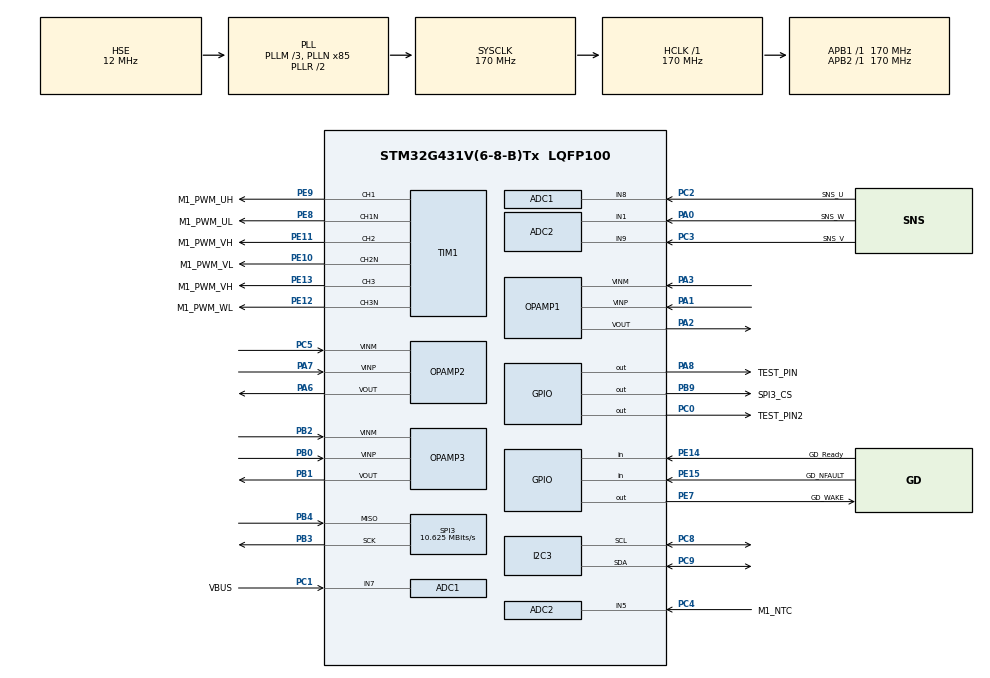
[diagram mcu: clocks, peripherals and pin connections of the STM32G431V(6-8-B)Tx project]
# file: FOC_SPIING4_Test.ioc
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ADC1.ClockPrescaler=ADC_CLOCK_ASYNC_DIV4
ADC1.EOCSelection=ADC_EOC_SEQ_CONV
ADC1.EnableInjectedConversion=ENABLE
ADC1.EnableRegularConversion=DISABLE
ADC1.ExternalTrigInjecConv=ADC_EXTERNALTRIGINJEC_T1_TRGO
ADC1.InjNumberOfConversion=4
ADC1.InjectedChannel-1\#ChannelInjectedConversion=ADC_CHANNEL_3
ADC1.InjectedChannel-2\#ChannelInjectedConversion=ADC_CHANNEL_7
ADC1.InjectedChannel-3\#ChannelInjectedConversion=ADC_CHANNEL_12
ADC1.InjectedChannel-4\#ChannelInjectedConversion=ADC_CHANNEL_8
ADC1.InjectedOffsetNumber-1\#ChannelInjectedConversion=ADC_OFFSET_NONE
ADC1.InjectedOffsetNumber-2\#ChannelInjectedConversion=ADC_OFFSET_NONE
ADC1.InjectedOffsetNumber-3\#ChannelInjectedConversion=ADC_OFFSET_NONE
ADC1.InjectedOffsetNumber-4\#ChannelInjectedConversion=ADC_OFFSET_NONE
ADC1.InjectedRank-1\#ChannelInjectedConversion=1
ADC1.InjectedRank-2\#ChannelInjectedConversion=2
ADC1.InjectedRank-3\#ChannelInjectedConversion=3
ADC1.InjectedRank-4\#ChannelInjectedConversion=4
ADC1.InjectedSamplingTime-1\#ChannelInjectedConversion=ADC_SAMPLETIME_6CYCLES_5
ADC1.InjectedSamplingTime-2\#ChannelInjectedConversion=ADC_SAMPLETIME_24CYCLES_5
ADC1.InjectedSamplingTime-3\#ChannelInjectedConversion=ADC_SAMPLETIME_24CYCLES_5
ADC1.InjectedSamplingTime-4\#ChannelInjectedConversion=ADC_SAMPLETIME_24CYCLES_5
ADC1.Rank1_Channel=ADC_CHANNEL_3
ADC1.Rank2_Channel=ADC_CHANNEL_7
ADC1.Rank3_Channel=ADC_CHANNEL_12
ADC1.Rank4_Channel=ADC_CHANNEL_8
ADC1.master=1
ADC2.ClockPrescaler=ADC_CLOCK_ASYNC_DIV4
ADC2.EOCSelection=ADC_EOC_SEQ_CONV
ADC2.EnableInjectedConversion=ENABLE
ADC2.EnableRegularConversion=DISABLE
ADC2.ExternalTrigInjecConv=ADC_EXTERNALTRIGINJEC_T1_TRGO
ADC2.InjNumberOfConversion=4
ADC2.InjectedChannel-1\#ChannelInjectedConversion=ADC_CHANNEL_3
ADC2.InjectedChannel-2\#ChannelInjectedConversion=ADC_CHANNEL_1
ADC2.InjectedChannel-3\#ChannelInjectedConversion=ADC_CHANNEL_5
ADC2.InjectedChannel-4\#ChannelInjectedConversion=ADC_CHANNEL_9
ADC2.InjectedOffsetNumber-1\#ChannelInjectedConversion=ADC_OFFSET_NONE
ADC2.InjectedOffsetNumber-2\#ChannelInjectedConversion=ADC_OFFSET_NONE
ADC2.InjectedOffsetNumber-3\#ChannelInjectedConversion=ADC_OFFSET_NONE
ADC2.InjectedOffsetNumber-4\#ChannelInjectedConversion=ADC_OFFSET_NONE
ADC2.InjectedRank-1\#ChannelInjectedConversion=1
ADC2.InjectedRank-2\#ChannelInjectedConversion=2
ADC2.InjectedRank-3\#ChannelInjectedConversion=3
ADC2.InjectedRank-4\#ChannelInjectedConversion=4
ADC2.InjectedSamplingTime-1\#ChannelInjectedConversion=ADC_SAMPLETIME_6CYCLES_5
ADC2.InjectedSamplingTime-2\#ChannelInjectedConversion=ADC_SAMPLETIME_24CYCLES_5
ADC2.InjectedSamplingTime-3\#ChannelInjectedConversion=ADC_SAMPLETIME_24CYCLES_5
ADC2.InjectedSamplingTime-4\#ChannelInjectedConversion=ADC_SAMPLETIME_24CYCLES_5
ADC2.Rank1_Channel=ADC_CHANNEL_3
ADC2.Rank2_Channel=ADC_CHANNEL_1
ADC2.Rank3_Channel=ADC_CHANNEL_5
ADC2.Rank4_Channel=ADC_CHANNEL_9
FREERTOS.Tasks01=DebugTask,0,128,App_DebugTask,As weak,NULL,Dynamic,NULL,NULL
I2C3.I2C_Fall_Time=0
I2C3.I2C_Rise_Time=0
I2C3.Timing=0x30A0A7FB
Mcu.Family=STM32G4
Mcu.Name=STM32G431V(6-8-B)Tx
Mcu.Package=LQFP100
Mcu.UserConstants=PWM_PERIOD_CYCLES,8500;TIM_CLOCK_DIVIDER,1;REP_COUNTER,1;DEAD_TIME_COUNTS,170
NVIC.ADC1_2_IRQn=true\:5\:0\:false\:true\:true\:2\:true\:true\:true\:true
NVIC.PriorityGroup=NVIC_PRIORITYGROUP_4
NVIC.TIM1_UP_TIM16_IRQn=true\:5\:0\:false\:true\:true\:1\:true\:true\:true\:true
NVIC.TIM2_IRQn=true\:15\:0\:false\:false\:true\:false\:false\:true\:true
NVIC.TimeBase=TIM2_IRQn
NVIC.TimeBaseIP=TIM2
PA0.GPIO_Label=SNS_W
PA0.Mode=IN1-Single-Ended
PA0.Signal=ADC2_IN1
PA1.Mode=Standalone
PA1.Signal=OPAMP1_VINP
PA13.Mode=Serial_Wire
PA13.Signal=SYS_JTMS-SWDIO
PA14.Mode=Serial_Wire
PA14.Signal=SYS_JTCK-SWCLK
PA2.Signal=SharedAnalog_PA2
PA3.Mode=Standalone
PA3.Signal=OPAMP1_VINM
PA6.Signal=SharedAnalog_PA6
PA7.Mode=Standalone
PA7.Signal=OPAMP2_VINP
PA8.GPIO_Label=TEST_PIN
PA8.GPIO_Speed=GPIO_SPEED_FREQ_VERY_HIGH
PA8.Signal=GPIO_Output
PB0.Mode=Standalone
PB0.Signal=OPAMP3_VINP
PB1.Signal=SharedAnalog_PB1
PB2.Mode=Standalone
PB2.Signal=OPAMP3_VINM
PB3.GPIO_Speed=GPIO_SPEED_FREQ_VERY_HIGH
PB3.Mode=RX_Only_Simplex_Unidirect_Master
PB3.Signal=SPI3_SCK
PB4.GPIO_Speed=GPIO_SPEED_FREQ_VERY_HIGH
PB4.Mode=RX_Only_Simplex_Unidirect_Master
PB4.Signal=SPI3_MISO
PB5.Signal=SPI3_MOSI
PB9.GPIO_FM9=SYSCFG_FASTMODEPLUS_PB9
PB9.GPIO_Label=SPI3_CS
PB9.GPIO_PuPd=GPIO_PULLUP
PB9.GPIO_Speed=GPIO_SPEED_FREQ_VERY_HIGH
PB9.PinState=GPIO_PIN_SET
PB9.Signal=GPIO_Output
PC0.GPIO_Label=TEST_PIN2
PC0.GPIO_Speed=GPIO_SPEED_FREQ_VERY_HIGH
PC0.Signal=GPIO_Output
PC1.GPIO_Label=VBUS
PC1.Mode=IN7-Single-Ended
PC1.Signal=ADC1_IN7
PC2.GPIO_Label=SNS_U
PC2.Mode=IN8-Single-Ended
PC2.Signal=ADC1_IN8
PC3.GPIO_Label=SNS_V
PC3.Mode=IN9-Single-Ended
PC3.Signal=ADC2_IN9
PC4.GPIO_Label=M1_NTC
PC4.Mode=IN5-Single-Ended
PC4.Signal=ADC2_IN5
PC5.Mode=Standalone
PC5.Signal=OPAMP2_VINM
PC8.Mode=I2C
PC8.Signal=I2C3_SCL
PC9.Mode=I2C
PC9.Signal=I2C3_SDA
PE10.GPIO_Label=M1_PWM_VL
PE10.GPIO_PuPd=GPIO_PULLDOWN
PE10.GPIO_Speed=GPIO_SPEED_FREQ_HIGH
PE10.Mode=PWM Generation2 CH2 CH2N
PE10.Signal=TIM1_CH2N
PE11.GPIO_Label=M1_PWM_VH
PE11.GPIO_PuPd=GPIO_PULLDOWN
PE11.GPIO_Speed=GPIO_SPEED_FREQ_HIGH
PE11.Signal=S_TIM1_CH2
PE12.GPIO_Label=M1_PWM_WL
PE12.GPIO_PuPd=GPIO_PULLDOWN
PE12.GPIO_Speed=GPIO_SPEED_FREQ_HIGH
PE12.Mode=PWM Generation3 CH3 CH3N
PE12.Signal=TIM1_CH3N
PE13.GPIO_Label=M1_PWM_VH
PE13.GPIO_PuPd=GPIO_PULLDOWN
PE13.GPIO_Speed=GPIO_SPEED_FREQ_HIGH
PE13.Signal=S_TIM1_CH3
PE14.GPIO_Label=GD_Ready
PE14.Signal=GPIO_Input
PE15.GPIO_Label=GD_NFAULT
PE15.Signal=GPIO_Input
PE7.GPIO_Label=GD_WAKE
PE7.Signal=GPIO_Output
PE8.GPIO_Label=M1_PWM_UL
PE8.GPIO_PuPd=GPIO_PULLDOWN
PE8.GPIO_Speed=GPIO_SPEED_FREQ_HIGH
PE8.Mode=PWM Generation1 CH1 CH1N
PE8.Signal=TIM1_CH1N
PE9.GPIO_Label=M1_PWM_UH
PE9.GPIO_PuPd=GPIO_PULLDOWN
PE9.GPIO_Speed=GPIO_SPEED_FREQ_HIGH
PE9.Signal=S_TIM1_CH1
PF0-OSC_IN.Mode=HSE-External-Oscillator
PF0-OSC_IN.Signal=RCC_OSC_IN
PF1-OSC_OUT.Mode=HSE-External-Oscillator
PF1-OSC_OUT.Signal=RCC_OSC_OUT
ProjectManager.HeapSize=0x200
ProjectManager.StackSize=0x400
ProjectManager.TargetToolchain=CMake
RCC.ADC12Freq_Value=170000000
RCC.AHBFreq_Value=170000000
RCC.APB1Freq_Value=170000000
RCC.APB1TimFreq_Value=170000000
RCC.APB2Freq_Value=170000000
RCC.APB2TimFreq_Value=170000000
RCC.CortexFreq_Value=170000000
RCC.EXTERNAL_CLOCK_VALUE=12288000
RCC.HCLKFreq_Value=170000000
RCC.HSE_VALUE=12000000
RCC.HSI48_VALUE=48000000
RCC.HSI_VALUE=16000000
RCC.LSE_VALUE=32768
RCC.PLLM=RCC_PLLM_DIV3
RCC.PLLN=85
RCC.PLLSourceVirtual=RCC_PLLSOURCE_HSE
RCC.SYSCLKFreq_VALUE=170000000
RCC.SYSCLKSource=RCC_SYSCLKSOURCE_PLLCLK
RCC.USBFreq_Value=170000000
RCC.VCOOutputFreq_Value=340000000
SH.S_TIM1_CH1.0=TIM1_CH1,PWM Generation1 CH1 CH1N
SH.S_TIM1_CH2.0=TIM1_CH2,PWM Generation2 CH2 CH2N
SH.S_TIM1_CH3.0=TIM1_CH3,PWM Generation3 CH3 CH3N
SH.SharedAnalog_PA2.0=OPAMP1_VOUT,Standalone
SH.SharedAnalog_PA2.1=ADC1_IN3,IN3-Single-Ended
SH.SharedAnalog_PA6.0=OPAMP2_VOUT,Standalone
SH.SharedAnalog_PA6.1=ADC2_IN3,IN3-Single-Ended
SH.SharedAnalog_PB1.0=OPAMP3_VOUT,Standalone
SH.SharedAnalog_PB1.1=ADC1_IN12,IN12-Single-Ended
SPI3.BaudRatePrescaler=SPI_BAUDRATEPRESCALER_16
SPI3.CLKPhase=SPI_PHASE_2EDGE
SPI3.CalculateBaudRate=10.625 MBits/s
SPI3.DataSize=SPI_DATASIZE_8BIT
SPI3.Direction=SPI_DIRECTION_2LINES_RXONLY
SPI3.Mode=SPI_MODE_MASTER
SPI3.VirtualType=VM_MASTER
TIM1.Channel-PWM\ Generation1\ CH1\ CH1N=TIM_CHANNEL_1
TIM1.Channel-PWM\ Generation2\ CH2\ CH2N=TIM_CHANNEL_2
TIM1.Channel-PWM\ Generation3\ CH3\ CH3N=TIM_CHANNEL_3
TIM1.Channel-PWM\ Generation4\ No\ Output=TIM_CHANNEL_4
TIM1.ClockDivision=TIM_CLOCKDIVISION_DIV2
TIM1.CounterMode=TIM_COUNTERMODE_CENTERALIGNED1
TIM1.DeadTime=((DEAD_TIME_COUNTS) / 2)
TIM1.OCFastMode_PWM-PWM\ Generation3\ CH3\ CH3N=TIM_OCFAST_DISABLE
TIM1.OCFastMode_PWM-PWM\ Generation4\ No\ Output=TIM_OCFAST_ENABLE
TIM1.OCMode_PWM-PWM\ Generation1\ CH1\ CH1N=TIM_OCMODE_PWM2
TIM1.OCMode_PWM-PWM\ Generation2\ CH2\ CH2N=TIM_OCMODE_PWM2
TIM1.OCMode_PWM-PWM\ Generation3\ CH3\ CH3N=TIM_OCMODE_PWM2
TIM1.OffStateIDLEMode=TIM_OSSI_ENABLE
TIM1.OffStateRunMode=TIM_OSSR_ENABLE
TIM1.PeriodNoDither=((PWM_PERIOD_CYCLES)/2)
TIM1.Prescaler=((TIM_CLOCK_DIVIDER) - 1)
TIM1.PulseNoDither_4=1
TIM1.RepetitionCounter=REP_COUNTER
TIM1.TIM_MasterOutputTrigger=TIM_TRGO_OC4REF
VP_FREERTOS_VS_CMSIS_V1.Mode=CMSIS_V1
VP_SYS_VS_DBSignals.Mode=DisableDeadBatterySignals
VP_SYS_VS_tim2.Mode=TIM2
VP_SYS_V_VREFBUF.Mode=ExternalMode
VP_TIM1_VS_ClockSourceINT.Mode=Internal
VP_TIM1_VS_no_output4.Mode=PWM Generation4 No Output
board=custom

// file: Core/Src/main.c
/* USER CODE BEGIN Header */
/**
  ******************************************************************************
  * @file           : main.c
  * @brief          : Main program body
  ******************************************************************************
  * @attention
  *
  * Copyright (c) 2026 STMicroelectronics.
  * All rights reserved.
  *
  * This software is licensed under terms that can be found in the LICENSE file
  * in the root directory of this software component.
  * If no LICENSE file comes with this software, it is provided AS-IS.
  *
  ******************************************************************************
  */
/* USER CODE END Header */
#include "main.h"
#include "cmsis_os.h"
#include "adc.h"
#include "i2c.h"
#include "opamp.h"
#include "spi.h"
#include "tim.h"
#include "gpio.h"

/* USER CODE BEGIN Includes */
#include "foc_struct.h"
/* USER CODE END Includes */

void SystemClock_Config(void);
void MX_FREERTOS_Init(void);
static void MX_NVIC_Init(void);

/* USER CODE BEGIN 0 */
extern FOC_Driver_t tFocDrv;

void FocInit() {
  HAL_TIM_Base_Start_IT(&htim1);
  HAL_TIM_Base_Start(&htim1);

  // PWM Init
  HAL_TIM_PWM_Start(&htim1, TIM_CHANNEL_1);
  HAL_TIMEx_PWMN_Start(&htim1, TIM_CHANNEL_1);
  HAL_TIM_PWM_Start(&htim1, TIM_CHANNEL_2);
  HAL_TIMEx_PWMN_Start(&htim1, TIM_CHANNEL_2);
  HAL_TIM_PWM_Start(&htim1, TIM_CHANNEL_3);
  HAL_TIMEx_PWMN_Start(&htim1, TIM_CHANNEL_3);

  // ADC Init
  HAL_ADCEx_Calibration_Start(&hadc1, ADC_SINGLE_ENDED);
  HAL_ADCEx_Calibration_Start(&hadc2, ADC_SINGLE_ENDED);
  HAL_ADCEx_InjectedStart_IT(&hadc1);
  HAL_ADCEx_InjectedStart_IT(&hadc2);

  // OPAMP Init
  HAL_OPAMP_Start(&hopamp1);
  HAL_OPAMP_Start(&hopamp2);
  HAL_OPAMP_Start(&hopamp3);

  // Init FOC StateMachine
  tFocDrv.tAppState.tEvent = E_RESET;
  tFocDrv.tAppState.tStatus = S_RESET;
  tFocDrv.fAngle = 0.f;
}
/* USER CODE END 0 */

int main(void)
{

  /* MCU Configuration--------------------------------------------------------*/

  /* Reset of all peripherals, Initializes the Flash interface and the Systick. */
  HAL_Init();

  /* Configure the system clock */
  SystemClock_Config();

  /* Initialize all configured peripherals */
  MX_GPIO_Init();
  MX_ADC1_Init();
  MX_ADC2_Init();
  MX_I2C3_Init();
  MX_OPAMP1_Init();
  MX_OPAMP2_Init();
  MX_OPAMP3_Init();
  MX_SPI3_Init();
  MX_TIM1_Init();

  /* Initialize interrupts */
  MX_NVIC_Init();
  /* USER CODE BEGIN 2 */
  FocInit();
  /* USER CODE END 2 */

  /* Call init function for freertos objects (in cmsis_os2.c) */
  MX_FREERTOS_Init();

  /* Start scheduler */
  osKernelStart();

  /* We should never get here as control is now taken by the scheduler */

  /* Infinite loop */
  while (1)
  {

  }
}

void SystemClock_Config(void)
{
  RCC_OscInitTypeDef RCC_OscInitStruct = {0};
  RCC_ClkInitTypeDef RCC_ClkInitStruct = {0};

  /** Configure the main internal regulator output voltage
  */
  HAL_PWREx_ControlVoltageScaling(PWR_REGULATOR_VOLTAGE_SCALE1_BOOST);

  /** Initializes the RCC Oscillators according to the specified parameters
  * in the RCC_OscInitTypeDef structure.
  */
  RCC_OscInitStruct.OscillatorType = RCC_OSCILLATORTYPE_HSE;
  RCC_OscInitStruct.HSEState = RCC_HSE_ON;
  RCC_OscInitStruct.PLL.PLLState = RCC_PLL_ON;
  RCC_OscInitStruct.PLL.PLLSource = RCC_PLLSOURCE_HSE;
  RCC_OscInitStruct.PLL.PLLM = RCC_PLLM_DIV3;
  RCC_OscInitStruct.PLL.PLLN = 85;
  RCC_OscInitStruct.PLL.PLLP = RCC_PLLP_DIV2;
  RCC_OscInitStruct.PLL.PLLQ = RCC_PLLQ_DIV2;
  RCC_OscInitStruct.PLL.PLLR = RCC_PLLR_DIV2;
  if (HAL_RCC_OscConfig(&RCC_OscInitStruct) != HAL_OK)
  {
    Error_Handler();
  }

  /** Initializes the CPU, AHB and APB buses clocks
  */
  RCC_ClkInitStruct.ClockType = RCC_CLOCKTYPE_HCLK|RCC_CLOCKTYPE_SYSCLK
                              |RCC_CLOCKTYPE_PCLK1|RCC_CLOCKTYPE_PCLK2;
  RCC_ClkInitStruct.SYSCLKSource = RCC_SYSCLKSOURCE_PLLCLK;
  RCC_ClkInitStruct.AHBCLKDivider = RCC_SYSCLK_DIV1;
  RCC_ClkInitStruct.APB1CLKDivider = RCC_HCLK_DIV1;
  RCC_ClkInitStruct.APB2CLKDivider = RCC_HCLK_DIV1;

  if (HAL_RCC_ClockConfig(&RCC_ClkInitStruct, FLASH_LATENCY_4) != HAL_OK)
  {
    Error_Handler();
  }
}

/**
  * @brief NVIC Configuration.
  * @retval None
  */
static void MX_NVIC_Init(void)
{
  /* TIM1_UP_TIM16_IRQn interrupt configuration */
  HAL_NVIC_SetPriority(TIM1_UP_TIM16_IRQn, 5, 0);
  HAL_NVIC_EnableIRQ(TIM1_UP_TIM16_IRQn);
  /* ADC1_2_IRQn interrupt configuration */
  HAL_NVIC_SetPriority(ADC1_2_IRQn, 5, 0);
  HAL_NVIC_EnableIRQ(ADC1_2_IRQn);
}

void HAL_TIM_PeriodElapsedCallback(TIM_HandleTypeDef *htim)
{
  if (htim->Instance == TIM2)
  {
    HAL_IncTick();
  }
}

void Error_Handler(void)
{
  __disable_irq();
  while (1)
  {
  }
}
